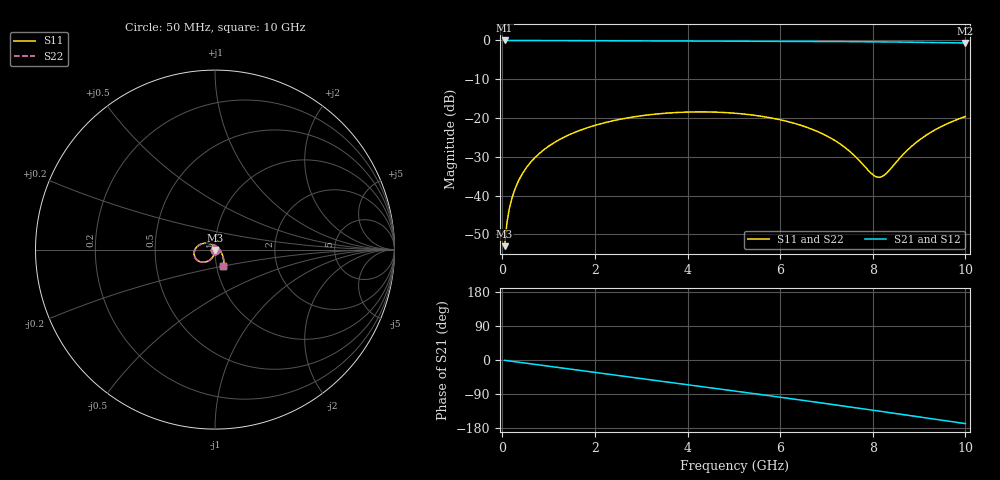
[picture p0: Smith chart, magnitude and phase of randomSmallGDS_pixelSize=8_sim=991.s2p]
! freq	dB(S11)	phase(S11)	dB(S12)	phase(S12)
!  dB(S21)	phase(S21)	dB(S22)	phase(S22)
!S-par simulation data
#  GHz  S  DB  R 50
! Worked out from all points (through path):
!   200 points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, 50 MHz to 10 GHz, reference 50 ohm
!   highest |S21| = 0.00 dB at 50 MHz (marker M1); lowest = -0.7 dB at 10 GHz (marker M2)
!   group delay of S21, straight-line fit = 46.4 ps
!   lowest |S11| = -53.0 dB at 50 MHz (marker M3), VSWR 1.00, Z = 50 - j0.223 ohm
!   |S11| at or under -10 dB: start of sweep to end of sweep
!   |S22| runs from -53.0 to -18.4 dB; largest |S21 - S12| = 0
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0.05  -53.04 -90.5  -0.00 -0.8  -0.00 -0.8  -53.04 -90.5
0.1  -47.03 -91.7  -0.00 -1.7  -0.00 -1.7  -47.03 -91.7
0.15  -43.53 -92.7  -0.01 -2.5  -0.01 -2.5  -43.53 -92.7
0.2  -41.04 -93.7  -0.01 -3.3  -0.01 -3.3  -41.04 -93.7
0.35  -36.21 -96.3  -0.01 -5.7  -0.01 -5.7  -36.21 -96.3
0.5  -33.15 -98.9  -0.01 -8.2  -0.01 -8.2  -33.15 -98.9
0.7  -30.27 -102.3  -0.02 -11.5  -0.02 -11.5  -30.27 -102.3
1  -27.28 -107.3  -0.03 -16.4  -0.03 -16.4  -27.28 -107.3
1.75  -22.86 -119.8  -0.05 -28.6  -0.05 -28.6  -22.86 -119.8
2.5  -20.43 -132.2  -0.08 -40.7  -0.08 -40.7  -20.43 -132.2
3.4  -18.89 -147.2  -0.12 -55.3  -0.12 -55.3  -18.89 -147.1
5.05  -18.79 -175.7  -0.18 -82.3  -0.18 -82.3  -18.79 -175.7
5.95  -20.32 167.2  -0.21 -97.3  -0.21 -97.3  -20.32 167.2
6.7  -22.95 150.6  -0.25 -110.0  -0.25 -110.0  -22.95 150.7
7.35  -27.15 130.3  -0.29 -121.2  -0.29 -121.2  -27.15 130.4
8.05  -35.02 65.6  -0.35 -133.3  -0.35 -133.3  -35.06 65.7
8.2  -35.10 36.2  -0.37 -136.0  -0.37 -136.0  -35.15 36.2
8.35  -33.56 10.7  -0.39 -138.6  -0.39 -138.6  -33.60 10.6
8.7  -28.84 -22.1  -0.43 -144.8  -0.43 -144.8  -28.86 -22.2
9.05  -25.28 -38.2  -0.49 -151.0  -0.49 -151.0  -25.29 -38.3
9.5  -22.08 -51.9  -0.56 -159.0  -0.56 -159.0  -22.09 -52.0
10  -19.60 -63.6  -0.66 -167.9  -0.66 -167.9  -19.61 -63.7
